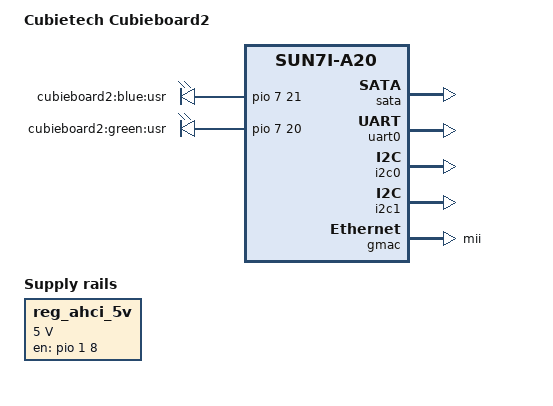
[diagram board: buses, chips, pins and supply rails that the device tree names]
/*
 * Copyright 2013 Maxime Ripard
 *
 * Maxime Ripard <maxime.ripard@free-electrons.com>
 *
 * The code contained herein is licensed under the GNU General Public
 * License. You may obtain a copy of the GNU General Public License
 * Version 2 or later at the following locations:
 *
 * http://www.opensource.org/licenses/gpl-license.html
 * http://www.gnu.org/copyleft/gpl.html
 */

/dts-v1/;
/include/ "sun7i-a20.dtsi"

/ {
	model = "Cubietech Cubieboard2";
	compatible = "cubietech,cubieboard2", "allwinner,sun7i-a20";

	soc@01c00000 {
		sata: ahci@01c18000 {
			pwr-supply = <&reg_ahci_5v>;
			status = "okay";
		};

		pinctrl@01c20800 {
			ahci_pwr_pin: ahci_pwr_pin@0 {
				allwinner,pins = "PB8";
				allwinner,function = "gpio_out";
				allwinner,drive = <0>;
				allwinner,pull = <0>;
			};
			led_pins_cubieboard2: led_pins@0 {
				allwinner,pins = "PH20", "PH21";
				allwinner,function = "gpio_out";
				allwinner,drive = <0>;
				allwinner,pull = <0>;
			};
		};

		uart0: serial@01c28000 {
			pinctrl-names = "default";
			pinctrl-0 = <&uart0_pins_a>;
			status = "okay";
		};

		i2c0: i2c@01c2ac00 {
			pinctrl-names = "default";
			pinctrl-0 = <&i2c0_pins_a>;
			status = "okay";
		};

		i2c1: i2c@01c2b000 {
			pinctrl-names = "default";
			pinctrl-0 = <&i2c1_pins_a>;
			status = "okay";
		};

		gmac: ethernet@01c50000 {
			pinctrl-names = "default";
			pinctrl-0 = <&gmac_pins_a>;
			snps,phy-addr = <1>;
			phy-mode = "mii";
			status = "okay";
		};
	};

	leds {
		compatible = "gpio-leds";
		pinctrl-names = "default";
		pinctrl-0 = <&led_pins_cubieboard2>;

		blue {
			label = "cubieboard2:blue:usr";
			gpios = <&pio 7 21 0>;
		};

		green {
			label = "cubieboard2:green:usr";
			gpios = <&pio 7 20 0>;
		};
	};

	regulators {
		compatible = "simple-bus";
		pinctrl-names = "default";

		reg_ahci_5v: ahci-5v {
			compatible = "regulator-fixed";
			regulator-name = "ahci-5v";
			regulator-min-microvolt = <5000000>;
			regulator-max-microvolt = <5000000>;
			pinctrl-0 = <&ahci_pwr_pin>;
			gpio = <&pio 1 8 0>;
			enable-active-high;
		};
	};
};
